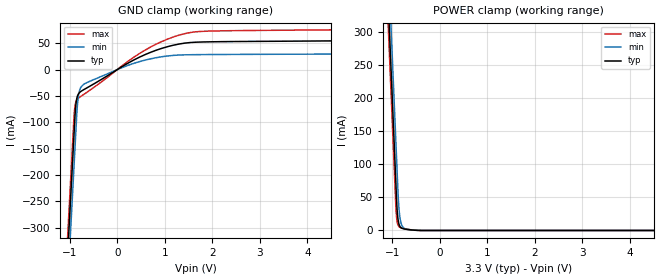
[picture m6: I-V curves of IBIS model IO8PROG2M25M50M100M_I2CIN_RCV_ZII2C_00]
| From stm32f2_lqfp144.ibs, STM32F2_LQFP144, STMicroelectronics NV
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| *** New cell (Generated with 5.14beta1 (Sep 20 2010 13:23:23))
[Model]   IO8PROG2M25M50M100M_I2CIN_RCV_ZII2C_00
Model_type Input
Polarity   Non-Inverting
Enable   Active-Low
| CAP_THRESHOLD on pad IOV33 is "CMOS" :
| Rising=10.0% of vddio   Falling=90.0% of vddio
| C_comp min and max val. don't necessarily correlate with the min and max pvt
| but are the smallest and greatest pad capacitance found.
| var   typ   min   max
C_comp   2.13955pF  2.03575pF  2.25660pF
Vinl = 810.0mV | Dummy value overriden by next lines
Vinh = 2.52V | Dummy value overriden by next lines
[Model Spec]
| TIME_THRESHOLD on pin ZII2CV12 is "CORE" :
| Rising=40.0% of vdd   Falling=60.0% of vdd
Vinl 1.25450V 1.03850V 1.36250V
Vinh 1.66150V 1.36950V 1.82450V
| variable   typ   min   max
[Temperature Range] 25.0 125.0 -40.0
| variable   typ   min   max
[Voltage Range] 3.3V 2.7V 3.6V
| variable   typ   min   max
[POWER Clamp Reference] 3.3V 2.7V 3.6V
| variable   typ   min   max
[GND Clamp Reference] 0V 0V 0V
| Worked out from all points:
|   GND clamp passes 1 mA (typ) near -0.02 V on its own axis
|   POWER clamp passes 1 mA (typ) near -0.62 V on its own axis
[POWER Clamp]
-3.3V     4.113A     4.176A     4.076A
-1.09V    357mA      419.2mA    320.8mA
-1.05V    289mA      351.2mA    252.8mA
-1.01V    221mA      283.2mA    184.9mA
-920mV    68.07mA    130.3mA    32.01mA
-910mV    51.08mA    113.3mA    21.64mA
-890mV    25.6mA     79.28mA    11.28mA
-860mV    10.4mA     36.05mA    6.133mA
-830mV    5.371mA    16.57mA    4.527mA
-790mV    3.177mA    6.724mA    3.572mA
-340mV    0A         46uA       21uA
6.6V      0A         0A         0A
[GND Clamp]
-3.3V     -4.189A    -4.249A    -4.155A
-1.06V    -380.8mA   -441.1mA   -346.5mA
-940mV    -176.8mA   -237.1mA   -142.5mA
-900mV    -108.8mA   -169.1mA   -78.46mA
-870mV    -66.81mA   -118.1mA   -61.62mA
-840mV    -51.26mA   -70.71mA   -56.41mA
-810mV    -45.36mA   -47.08mA   -53.83mA
-770mV    -41.78mA   -34.45mA   -51.23mA
120mV     6.714mA    4.461mA    8.567mA
950mV     40.72mA    24.58mA    53.81mA
1.77V     52.39mA    28.47mA    72.51mA
6.6V      55.76mA    30.09mA    76.94mA
